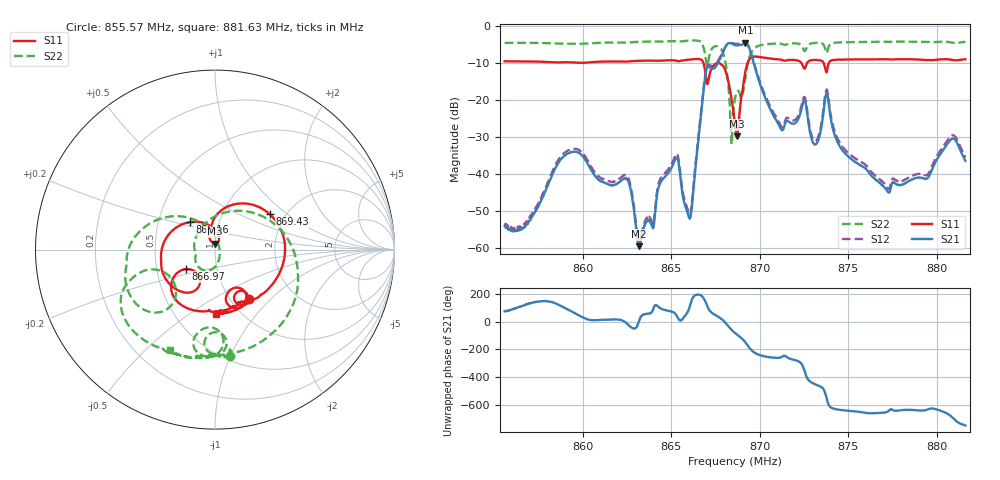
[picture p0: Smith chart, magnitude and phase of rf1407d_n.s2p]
!RF1407D, #2,job7175,narrow,bn,8/22/05
# HZ S RI R 50
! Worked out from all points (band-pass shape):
!   1601 points, 855.57 MHz to 881.63 MHz, reference 50 ohm
!   highest |S21| = -4.45 dB at 869.19 MHz (marker M1); lowest = -59.5 dB at 863.18 MHz (marker M2)
!   |S21| within 3 dB of the highest: 867.8878 MHz to 869.5127 MHz (1.625 MHz wide, 0.187 % of centre)
!   lowest |S11| = -29.7 dB at 868.71 MHz (marker M3), VSWR 1.07, Z = 49.9 + j3.26 ohm
!   |S11| at or under -10 dB: 866.8164 MHz to 867.5664 MHz (750 kHz wide, 0.0865 % of centre); 867.7314 MHz to 869.3042 MHz (1.573 MHz wide, 0.181 % of centre); 872.3657 MHz to 872.6727 MHz (307 kHz wide, 0.0352 % of centre)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
!   |S22| runs from -31.9 to -3.8 dB; largest |S21 - S12| = 0.029
!   S11 on the Smith chart (normalised r, x): 855.57 MHz: 1.21, -0.76; 866.97 MHz: 0.71, -0.16; 868.16 MHz: 0.72, +0.23; 869.43 MHz: 1.66, +0.76; 881.63 MHz: 0.78, -0.64
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8.55571e8  0.1901 -0.2769  0.000535 0.00193  0.000385 0.00209  0.0846 -0.5905
8.599194e8  0.1285 -0.2936  0.0149 0.0104  0.0157 0.0123  -0.019 -0.5797
8.625089e8  0.0885 -0.3209  0.00812 -0.00235  0.00918 -0.00222  -0.1017 -0.5922
8.631767e8  0.0709 -0.3332  0.00106 0.000111  0.0012 0.000154  -0.1339 -0.6017
8.642678e8  0.0299 -0.3396  -0.00194 0.00621  -0.00235 0.00696  -0.2009 -0.5845
8.652939e8  -0.0303 -0.3398  0.0119 0.0119  0.0133 0.0134  -0.2894 -0.5542
8.660593e8  -0.0897 -0.3431  -0.00112 0.00231  -0.00123 0.00257  -0.385 -0.5106
8.669714e8  -0.1609 -0.1082  -0.1682 0.1912  -0.1691 0.2049  -0.303 -0.1174
8.681603e8  -0.1414 0.153  0.5255 -0.2278  0.5191 -0.2321  -0.14 0.1757
8.683883e8  -0.000935 0.1101  0.3197 -0.4922  0.3366 -0.4904  0.0232 0.0154
8.686e8  0.0184 0.0434  0.083 -0.5509  0.1022 -0.5699  -0.0116 -0.1055
8.68714e8  -0.000351 0.0326  -0.026 -0.55  -0.0158 -0.576  -0.0608 -0.1158
8.691863e8  0.0632 0.2361  -0.511 -0.313  -0.5168 -0.3175  0.0264 0.1973
8.694306e8  0.3046 0.1973  -0.4819 0.0902  -0.4861 0.0687  0.3798 0.0949
8.711569e8  0.2253 -0.2733  -0.00829 0.0415  -0.0112 0.0452  0.1127 -0.5703
8.725087e8  0.1184 -0.2408  0.0975 0.0257  0.1061 0.0299  -0.0244 -0.4669
8.729484e8  0.1655 -0.3066  0.00535 -0.0286  0.00685 -0.0315  0.0164 -0.5877
8.737953e8  0.1214 -0.2114  -0.1221 0.038  -0.1341 0.0397  -0.0112 -0.4347
8.746097e8  0.1282 -0.3307  0.0024 0.022  0.00236 0.0246  -0.0581 -0.6029
8.772969e8  0.0558 -0.3529  0.00121 0.00552  0.00135 0.00615  -0.1713 -0.5923
8.808636e8  -0.000961 -0.351  0.0249 0.0167  0.0282 0.0177  -0.2582 -0.5427
8.81629e8  0.00349 -0.3582  0.0135 -0.00696  0.0147 -0.00826  -0.2532 -0.5585
